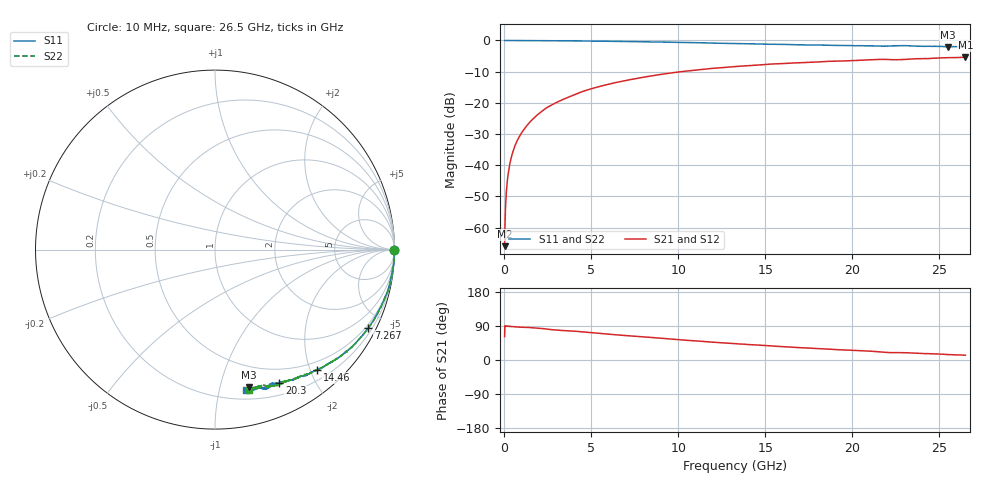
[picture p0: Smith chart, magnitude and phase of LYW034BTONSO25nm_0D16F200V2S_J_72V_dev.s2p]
!Keysight Technologies,N5222B,MY61253708,A.15.00.15
!Date: Wednesday, June 19, 2024 09:20:05
!Correction: S11(C  2-Port  )
!S21(C  2-Port  )
!S12(C  2-Port  )
!S22(C  2-Port  )
!S2P File: Measurements: S11, S21, S12, S22:
# Hz S  RI  R 50
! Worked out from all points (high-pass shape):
!   2651 points, 10 MHz to 26.5 GHz, reference 50 ohm
!   highest |S21| = -5.36 dB at 26.5 GHz (marker M1); lowest = -66.0 dB at 10 MHz (marker M2)
!   |S21| within 3 dB of the highest: 13.29 GHz to end of sweep
!   lowest |S11| = -2.1 dB at 25.5 GHz (marker M3), VSWR 8.47, Z = 15.2 - j61.7 ohm
!   |S11| at or under -10 dB: nowhere
!   |S22| runs from -2.0 to 0.0 dB; largest |S21 - S12| = 0.007
!   S11 on the Smith chart (normalised r, x): 10 MHz: open; 7.267 GHz: 0.38, -4.12; 14.46 GHz: 0.36, -2.12; 20.3 GHz: 0.33, -1.54; 26.5 GHz: 0.28, -1.21
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1e7  0.9991 -0.00238  0.00024 0.000442  4.59e-07 7.9e-05  0.9987 -0.00132
1.499472e8  0.9998 -0.0111  6.11e-05 0.00509  3.67e-05 0.00511  0.9995 -0.0104
1.799358e8  0.9998 -0.0123  5.81e-05 0.0061  7.77e-05 0.00611  0.9995 -0.0117
2.199208e8  0.9997 -0.0155  0.000131 0.00746  0.000118 0.00749  0.9993 -0.0146
3.098868e8  0.9993 -0.0215  0.000231 0.0104  0.000204 0.0106  0.9992 -0.0204
4.298415e8  0.9991 -0.0294  0.000459 0.0145  0.000448 0.0146  0.9994 -0.0286
5.797849e8  0.9984 -0.0398  0.000745 0.0196  0.000766 0.0197  0.9988 -0.0385
7.59717e8  0.9981 -0.0516  0.00134 0.0255  0.00131 0.0257  0.9983 -0.0509
1.049608e9  0.9972 -0.0726  0.0023 0.035  0.00233 0.0353  0.9958 -0.0704
1.399475e9  0.9906 -0.0973  0.00336 0.0468  0.00351 0.0471  0.9931 -0.0927
2.279143e9  0.982 -0.1515  0.00982 0.0772  0.0101 0.0779  0.9836 -0.1511
3.128823e9  0.9698 -0.2063  0.0211 0.1035  0.0213 0.1041  0.9704 -0.2043
4.428332e9  0.9398 -0.2849  0.0401 0.1439  0.0405 0.1449  0.9419 -0.2814
7.26726e9  0.8538 -0.4369  0.1056 0.2115  0.107 0.2124  0.8566 -0.4342
8.846664e9  0.7956 -0.5071  0.1494 0.2387  0.1511 0.2394  0.7983 -0.5044
1.3255e10  0.6165 -0.6449  0.2781 0.2607  0.2807 0.2604  0.622 -0.6426
1.446454e10  0.5703 -0.6699  0.3091 0.2568  0.3114 0.2562  0.5757 -0.6647
1.767333e10  0.4428 -0.7207  0.3839 0.2307  0.3876 0.2287  0.4559 -0.7179
2.030234e10  0.3585 -0.7421  0.4336 0.2024  0.4372 0.1992  0.3751 -0.743
2.209166e10  0.3085 -0.7502  0.4652 0.1672  0.4672 0.1639  0.305 -0.7571
2.550038e10  0.1904 -0.7656  0.513 0.1297  0.5146 0.1292  0.213 -0.7702
2.65e10  0.1718 -0.7804  0.5264 0.1188  0.5259 0.1147  0.1868 -0.7801
